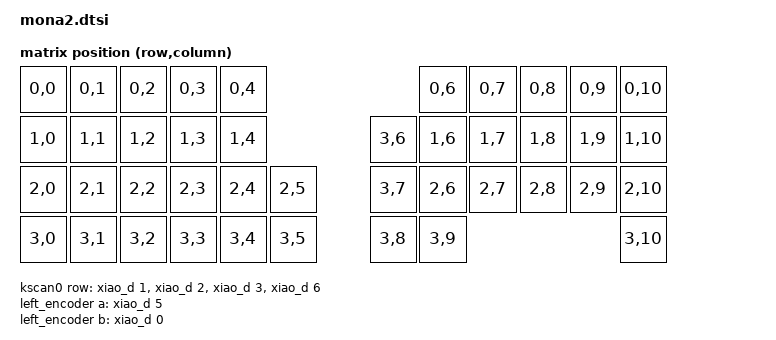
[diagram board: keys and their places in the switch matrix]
#include <dt-bindings/zmk/matrix_transform.h>
#include <input/processors.dtsi>
#include <dt-bindings/zmk/input_transform.h>
#include <physical_layouts.dtsi>
#include <zephyr/dt-bindings/pinctrl/nrf-pinctrl.h>
#include <zephyr/dt-bindings/input/input-event-codes.h>

/ {
    chosen {
        zmk,physical-layout = &physical_layout0;
    };

    physical_layout0: physical_layout_0 {
        compatible = "zmk,physical-layout";
        display-name = "default_layout";

        kscan = <&kscan0>;
        transform = <&default_transform>;

        keys  /*                    w   h    x    y     rot   rx   ry */
            = <&key_physical_attrs 100 100    0    0      0    0    0>
            , <&key_physical_attrs 100 100  100    0      0    0    0>
            , <&key_physical_attrs 100 100  200    0      0    0    0>
            , <&key_physical_attrs 100 100  300    0      0    0    0>
            , <&key_physical_attrs 100 100  400    0      0    0    0>
            , <&key_physical_attrs 100 100  800    0      0    0    0>
            , <&key_physical_attrs 100 100  900    0      0    0    0>
            , <&key_physical_attrs 100 100 1000    0      0    0    0>
            , <&key_physical_attrs 100 100 1100    0      0    0    0>
            , <&key_physical_attrs 100 100 1200    0      0    0    0>
            , <&key_physical_attrs 100 100    0  100      0    0    0>
            , <&key_physical_attrs 100 100  100  100      0    0    0>
            , <&key_physical_attrs 100 100  200  100      0    0    0>
            , <&key_physical_attrs 100 100  300  100      0    0    0>
            , <&key_physical_attrs 100 100  400  100      0    0    0>
            , <&key_physical_attrs 100 100  700  100      0    0    0>
            , <&key_physical_attrs 100 100  800  100      0    0    0>
            , <&key_physical_attrs 100 100  900  100      0    0    0>
            , <&key_physical_attrs 100 100 1000  100      0    0    0>
            , <&key_physical_attrs 100 100 1100  100      0    0    0>
            , <&key_physical_attrs 100 100 1200  100      0    0    0>
            , <&key_physical_attrs 100 100    0  200      0    0    0>
            , <&key_physical_attrs 100 100  100  200      0    0    0>
            , <&key_physical_attrs 100 100  200  200      0    0    0>
            , <&key_physical_attrs 100 100  300  200      0    0    0>
            , <&key_physical_attrs 100 100  400  200      0    0    0>
            , <&key_physical_attrs 100 100  500  200      0    0    0>
            , <&key_physical_attrs 100 100  700  200      0    0    0>
            , <&key_physical_attrs 100 100  800  200      0    0    0>
            , <&key_physical_attrs 100 100  900  200      0    0    0>
            , <&key_physical_attrs 100 100 1000  200      0    0    0>
            , <&key_physical_attrs 100 100 1100  200      0    0    0>
            , <&key_physical_attrs 100 100 1200  200      0    0    0>
            , <&key_physical_attrs 100 100    0  300      0    0    0>
            , <&key_physical_attrs 100 100  100  300      0    0    0>
            , <&key_physical_attrs 100 100  200  300      0    0    0>
            , <&key_physical_attrs 100 100  300  300      0    0    0>
            , <&key_physical_attrs 100 100  400  300      0    0    0>
            , <&key_physical_attrs 100 100  500  300      0    0    0>
            , <&key_physical_attrs 100 100  700  300      0    0    0>
            , <&key_physical_attrs 100 100  800  300      0    0    0>
            , <&key_physical_attrs 100 100 1200  300      0    0    0>
            ;
    };

    default_transform: keymap_transform_0 {
        compatible = "zmk,matrix-transform";
        columns = <11>;
        rows = <4>;
        map = <
            RC(0,0) RC(0,1) RC(0,2) RC(0,3) RC(0,4)                     RC(0,6) RC(0,7) RC(0,8) RC(0,9) RC(0,10)
            RC(1,0) RC(1,1) RC(1,2) RC(1,3) RC(1,4)             RC(3,6) RC(1,6) RC(1,7) RC(1,8) RC(1,9) RC(1,10)
            RC(2,0) RC(2,1) RC(2,2) RC(2,3) RC(2,4) RC(2,5)     RC(3,7) RC(2,6) RC(2,7) RC(2,8) RC(2,9) RC(2,10)
            RC(3,0) RC(3,1) RC(3,2) RC(3,3) RC(3,4) RC(3,5)     RC(3,8) RC(3,9)                         RC(3,10)
        >;
    };

    kscan0: kscan {
        compatible = "zmk,kscan-gpio-matrix";
        label = "KSCAN";
        diode-direction = "col2row";
        row-gpios = <&xiao_d 1 (GPIO_ACTIVE_HIGH | GPIO_PULL_DOWN)>,
                    <&xiao_d 2 (GPIO_ACTIVE_HIGH | GPIO_PULL_DOWN)>,
                    <&xiao_d 3 (GPIO_ACTIVE_HIGH | GPIO_PULL_DOWN)>,
                    <&xiao_d 6 (GPIO_ACTIVE_HIGH | GPIO_PULL_DOWN)>;
    };

    /* ---- 入力プロセッサ：方向フリック -> ショートカット ---- */
    dir_gestures: dir_gestures {
        compatible = "mona,dir-gestures";
        threshold = <700>;      /* 600〜900で調整：下げる＝敏感 / 上げる＝鈍く */
        timeout-ms = <200>;     /* 150〜250で調整：短いほど素早い動きだけ */
        bindings-up    = <&kp LG(W)>;      /* 上：Cmd/Win+W（タブ閉じ） */
        bindings-down  = <&kp LG(T)>;      /* 下：Cmd/Win+T（新規タブ） */
        bindings-left  = <&kp LG(LBKT)>;   /* 左：前のタブ/戻る */
        bindings-right = <&kp LG(RBKT)>;   /* 右：次のタブ/進む */
    };

    /* ---- エンコーダ（未使用なら disabled のまま） ---- */
    left_encoder: encoder_left {
        compatible = "alps,ec11";
        a-gpios = <&xiao_d 5 (GPIO_ACTIVE_HIGH | GPIO_PULL_UP)>;
        b-gpios = <&xiao_d 0 (GPIO_ACTIVE_HIGH | GPIO_PULL_UP)>;
        steps = <24>;
        status = "disabled";
    };

    right_encoder: encoder_right {
        status = "disabled";
    };

    sensors: sensors {
        compatible = "zmk,keymap-sensors";
        sensors = <&left_encoder &right_encoder>;
        triggers-per-rotation = <10>;
    };
}; /* / */

/* ---------- pinctrl（SPI0 のピン割り当て） ---------- */
&pinctrl {
    spi0_default: spi0_default {
        group1 {
            /* 例: SCK=P0.13, MOSI=P0.14, MISO=P0.15（実配線に合わせて変更可） */
            psels = <NRF_PSEL(SPIM_SCK,  0, 13)
                     NRF_PSEL(SPIM_MOSI, 0, 14)
                     NRF_PSEL(SPIM_MISO, 0, 15)>;
        };
    };
    spi0_sleep: spi0_sleep {
        group1 {
            psels = <NRF_PSEL(SPIM_SCK,  0, 13)
                     NRF_PSEL(SPIM_MOSI, 0, 14)
                     NRF_PSEL(SPIM_MISO, 0, 15)>;
            low-power-enable;
        };
    };
};

/* ---------- PMW3610（SPI0 配下） ---------- */
&spi0 {
    status = "okay";

    /* pinctrl の紐付け */
    pinctrl-0 = <&spi0_default>;
    pinctrl-1 = <&spi0_sleep>;
    pinctrl-names = "default", "sleep";

    /* 例: CS = D10（実配線に合わせて変更） */
    cs-gpios = <&xiao_d 10 GPIO_ACTIVE_LOW>;

    pmw3610_tb: pmw3610@0 {
        compatible = "pixart,pmw3610";
        reg = <0>;
        spi-max-frequency = <2000000>;
        irq-gpios = <&xiao_d 9 GPIO_ACTIVE_LOW>;

        /* 入力イベントの種別と軸コード（必須） */
        evt-type      = <INPUT_EV_REL>;
        x-input-code  = <INPUT_REL_X>;
        y-input-code  = <INPUT_REL_Y>;
        /* wheel-input-code / hwheel-input-code を使うならここに追加 */

        /* センサ解像度（任意） */
        /* cpi = <1600>; */

        status = "okay";
    };
};

/* ---------- 右手（中央）トラックボールの Input Listener ---------- */
&trackball_central_listener {
    compatible = "zmk,input-listener";
    status = "okay";
    device = <&pmw3610_tb>;

    /* 必要に応じて軸補正：X/Y 反転や XY 入替 */
    input-processors = <&zip_xy_transform INPUT_TRANSFORM_X_INVERT>;

    /* レイヤ7（Gesture）の間だけ、方向フリック検出を有効化 */
    gest_dir_only {
        layers = <7>;                         /* keymap の Gesture=7 と一致させる */
        input-processors = <&dir_gestures>;
    };

    /* ※ スクロール変換は衝突を避けるため未適用。
       もし使いたい場合は別レイヤ（例: 6）に限定して有効化する：
       gest_only {
           layers = <6>;
           input-processors = <&zip_xy_to_scroll_mapper>;
       };
    */
}
